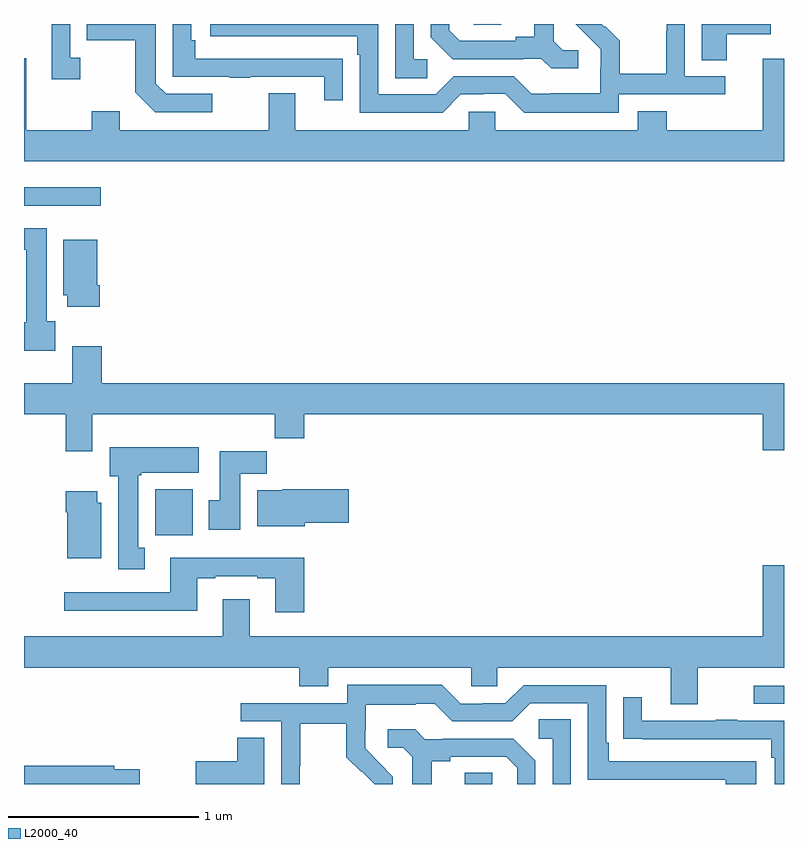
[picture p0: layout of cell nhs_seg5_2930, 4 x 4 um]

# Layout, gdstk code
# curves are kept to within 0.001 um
import gdstk
lib = gdstk.Library(unit=1e-6, precision=1e-09)
def R(c, l, rs):  # rectangles x0, y0, x1, y1
    for r in rs: c.add(gdstk.rectangle(r[:2], r[2:], *l))
def P(c, l, *ps):  # polygons
    for p in ps: c.add(gdstk.Polygon(p, *l))
L2000_40 = (2000, 40)

nhs_seg5_2930 = lib.new_cell('nhs_seg5_2930')
R(nhs_seg5_2930, L2000_40, [(283.319,870.799,283.464,870.857), (284.841,871.221,285,871.317), (281.69,872.108,281.887,872.35), (281,873.843,281.404,873.94), (283.368,874.795,283.513,874.799)])
P(nhs_seg5_2930, L2000_40, [(283.918,874.662),(283.836,874.662),(283.789,874.709),(283.789,874.799),(283.685,874.799),(283.685,874.733),(283.589,874.733),(283.589,874.71),(283.294,874.71),(283.237,874.767),(283.237,874.799),(283.14,874.799),(283.14,874.73),(283.256,874.614),(283.628,874.614),(283.628,874.617),(283.722,874.617),(283.774,874.565),(283.918,874.565)],
  [(281.992,874.431),(281.748,874.431),(281.694,874.485),(281.694,874.799),(281.329,874.799),(281.329,874.714),(281.586,874.714),(281.586,874.441),(281.691,874.335),(281.992,874.335)],
  [(281.296,874.622),(281.244,874.622),(281.244,874.799),(281.147,874.799),(281.147,874.509),(281.296,874.509)],
  [(284.13,874.428),(284.692,874.428),(284.692,874.524),(284.478,874.524),(284.478,874.799),(284.382,874.799),(284.382,874.76),(284.38,874.76),(284.38,874.537),(284.135,874.537),(284.135,874.711),(284.058,874.788),(284.055,874.785),(284.041,874.799),(283.905,874.799),(284.036,874.666),(284.036,874.569),(284.034,874.569),(284.034,874.435),(283.771,874.435),(283.771,874.431),(283.671,874.431),(283.578,874.524),(283.263,874.524),(283.167,874.428),(282.864,874.428),(282.864,874.799),(281.979,874.799),(281.979,874.734),(282.755,874.734),(282.755,874.637),(282.768,874.637),(282.768,874.332),(283.203,874.332),(283.299,874.428),(283.418,874.428),(283.418,874.431),(283.533,874.431),(283.633,874.331),(284.13,874.331)],
  [(284.698,874.745),(284.929,874.745),(284.929,874.799),(284.567,874.799),(284.567,874.609),(284.698,874.609)],
  [(282.677,874.616),(282.575,874.616),(282.575,874.617),(281.9,874.617),(281.9,874.714),(281.88,874.714),(281.88,874.799),(281.784,874.799),(281.784,874.521),(282.079,874.521),(282.079,874.516),(282.191,874.516),(282.191,874.521),(282.581,874.521),(282.581,874.398),(282.677,874.398)],
  [(283.123,874.614),(283.05,874.614),(283.05,874.799),(282.954,874.799),(282.954,874.513),(283.123,874.513)],
  [(285,874.615),(284.888,874.615),(284.888,874.24),(284.384,874.24),(284.384,874.339),(284.231,874.339),(284.231,874.24),(283.479,874.24),(283.479,874.338),(283.341,874.338),(283.341,874.24),(282.427,874.24),(282.427,874.435),(282.287,874.435),(282.287,874.24),(281.503,874.24),(281.503,874.339),(281.356,874.339),(281.356,874.24),(281.011,874.24),(281.011,874.618),(281,874.618),(281,874.076),(285,874.076)],
  [(281.164,873.234),(281.119,873.234),(281.119,873.724),(281,873.724),(281,873.611),(281.012,873.611),(281.012,873.228),(281,873.228),(281,873.08),(281.164,873.08)],
  [(281.399,873.424),(281.386,873.424),(281.386,873.664),(281.207,873.664),(281.207,873.372),(281.228,873.372),(281.228,873.312),(281.399,873.312)],
  [(281.359,872.744),(282.319,872.744),(282.319,872.62),(282.476,872.62),(282.476,872.744),(284.888,872.744),(284.888,872.556),(285,872.556),(285,872.908),(281.408,872.908),(281.408,873.103),(281.255,873.103),(281.255,872.908),(281,872.908),(281,872.744),(281.219,872.744),(281.219,872.55),(281.359,872.55)],
  [(281.635,872.042),(281.602,872.042),(281.602,872.425),(281.616,872.425),(281.616,872.438),(281.92,872.438),(281.92,872.572),(281.45,872.572),(281.45,872.418),(281.495,872.418),(281.495,871.929),(281.635,871.929)],
  [(282.139,872.432),(282.278,872.432),(282.278,872.551),(282.029,872.551),(282.029,872.292),(281.972,872.292),(281.972,872.136),(282.139,872.136)],
  [(282.478,872.174),(282.709,872.174),(282.709,872.35),(282.36,872.35),(282.36,872.344),(282.227,872.344),(282.227,872.156),(282.478,872.156)],
  [(281.407,872.28),(281.386,872.28),(281.386,872.341),(281.221,872.341),(281.221,872.228),(281.228,872.228),(281.228,871.988),(281.407,871.988)],
  [(282.476,871.99),(281.771,871.99),(281.771,871.809),(281.211,871.809),(281.211,871.712),(281.911,871.712),(281.911,871.881),(282.007,871.881),(282.007,871.893),(282.227,871.893),(282.227,871.881),(282.323,871.881),(282.323,871.704),(282.476,871.704)],
  [(284.545,871.412),(285,871.412),(285,871.951),(284.888,871.951),(284.888,871.576),(282.187,871.576),(282.187,871.771),(282.047,871.771),(282.047,871.576),(281,871.576),(281,871.412),(282.449,871.412),(282.449,871.313),(282.601,871.313),(282.601,871.412),(283.353,871.412),(283.353,871.314),(283.491,871.314),(283.491,871.412),(284.405,871.412),(284.405,871.218),(284.545,871.218)],
  [(282.45,870.892),(282.453,870.892),(282.453,871.116),(282.697,871.116),(282.697,870.941),(282.774,870.864),(282.777,870.867),(282.846,870.799),(282.942,870.799),(282.942,870.838),(282.796,870.986),(282.796,871.083),(282.798,871.083),(282.798,871.217),(283.061,871.217),(283.061,871.221),(283.161,871.221),(283.254,871.128),(283.569,871.128),(283.665,871.224),(283.968,871.224),(283.968,870.822),(284.693,870.822),(284.693,870.799),(284.854,870.799),(284.854,870.918),(284.077,870.918),(284.077,871.015),(284.064,871.015),(284.064,871.32),(283.629,871.32),(283.533,871.224),(283.415,871.224),(283.415,871.221),(283.299,871.221),(283.199,871.321),(282.702,871.321),(282.702,871.224),(282.141,871.224),(282.141,871.128),(282.354,871.128),(282.354,870.799),(282.45,870.799)],
  [(285,871.131),(284.753,871.131),(284.753,871.136),(284.641,871.136),(284.641,871.131),(284.251,871.131),(284.251,871.255),(284.155,871.255),(284.155,871.036),(284.257,871.036),(284.257,871.035),(284.932,871.035),(284.932,870.938),(284.952,870.938),(284.952,870.799),(285,870.799)],
  [(283.878,871.139),(283.71,871.139),(283.71,871.038),(283.782,871.038),(283.782,870.799),(283.878,870.799)],
  [(283.147,870.92),(283.243,870.92),(283.243,870.942),(283.538,870.942),(283.595,870.885),(283.595,870.799),(283.692,870.799),(283.692,870.922),(283.576,871.038),(283.204,871.038),(283.204,871.035),(283.11,871.035),(283.058,871.087),(282.915,871.087),(282.915,870.99),(282.996,870.99),(283.043,870.943),(283.043,870.799),(283.147,870.799)],
  [(282.265,871.043),(282.122,871.043),(282.122,870.92),(281.904,870.92),(281.904,870.799),(282.265,870.799)],
  [(281.608,870.876),(281.474,870.876),(281.474,870.896),(281,870.896),(281,870.799),(281.608,870.799)])

lib.write_gds('nhs_seg5_2930.gds')
